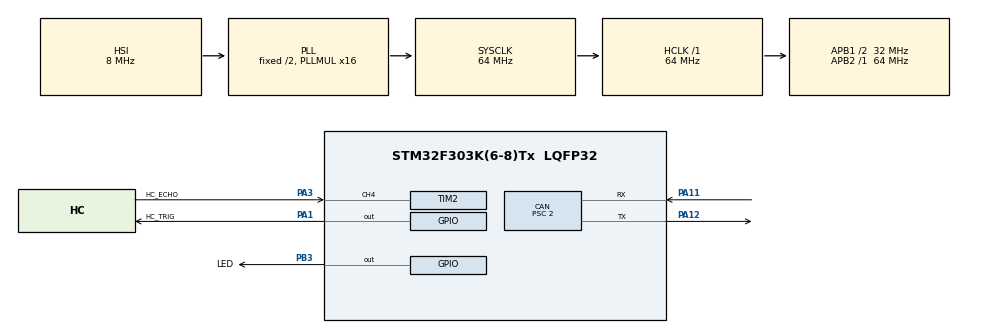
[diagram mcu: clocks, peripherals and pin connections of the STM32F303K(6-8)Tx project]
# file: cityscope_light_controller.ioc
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CAN.ABOM=ENABLE
CAN.AWUM=ENABLE
CAN.BS1=CAN_BS1_13TQ
CAN.BS2=CAN_BS2_2TQ
CAN.CalculateBaudRate=1000000
CAN.CalculateTimeBit=1000
CAN.CalculateTimeQuantum=62.5
CAN.NART=ENABLE
CAN.Prescaler=2
CAN.RFLM=ENABLE
CAN.SJW=CAN_SJW_2TQ
CAN.TTCM=ENABLE
CAN.TXFP=ENABLE
FREERTOS.Tasks01=ReadDistance,40,128,StartReadDistance,Default,NULL,Dynamic,NULL,NULL;UITask,24,128,StartUITask,Default,NULL,Dynamic,NULL,NULL;canopenTask,48,128,canopen_task,Default,NULL,Dynamic,NULL,NULL
Mcu.Family=STM32F3
Mcu.Name=STM32F303K(6-8)Tx
Mcu.Package=LQFP32
NVIC.CAN_RX0_IRQn=true\:5\:0\:false\:false\:true\:true\:true\:true\:true
NVIC.CAN_RX1_IRQn=true\:5\:0\:false\:false\:true\:true\:true\:true\:true
NVIC.CAN_TX_IRQn=true\:5\:0\:false\:false\:true\:true\:true\:true\:true
NVIC.PriorityGroup=NVIC_PRIORITYGROUP_4
NVIC.TIM1_TRG_COM_TIM17_IRQn=true\:5\:0\:false\:false\:true\:true\:true\:true\:true
NVIC.TIM1_UP_TIM16_IRQn=true\:5\:0\:false\:false\:true\:false\:false\:true\:true
NVIC.TIM2_IRQn=true\:5\:0\:false\:false\:true\:true\:true\:true\:true
NVIC.TimeBase=TIM1_UP_TIM16_IRQn
NVIC.TimeBaseIP=TIM1
PA0.GPIO_Label=N_DI
PA0.GPIO_ModeDefaultPP=GPIO_MODE_AF_PP
PA0.GPIO_PuPd=GPIO_NOPULL
PA0.GPIO_Speed=GPIO_SPEED_FREQ_LOW
PA0.Signal=S_TIM2_CH1_ETR
PA1.GPIO_Label=HC_TRIG
PA1.Signal=GPIO_Output
PA11.GPIO_PuPd=GPIO_PULLUP
PA11.Mode=CAN_Activate
PA11.Signal=CAN_RX
PA12.Mode=CAN_Activate
PA12.Signal=CAN_TX
PA13.Mode=Serial_Wire
PA13.Signal=SYS_JTMS-SWDIO
PA14.Mode=Serial_Wire
PA14.Signal=SYS_JTCK-SWCLK
PA3.GPIO_Label=HC_ECHO
PA3.Signal=S_TIM2_CH4
PB3.GPIO_Label=LED
PB3.Signal=GPIO_Output
ProjectManager.HeapSize=0x200
ProjectManager.StackSize=0x400
ProjectManager.TargetToolchain=Makefile
RCC.AHBFreq_Value=64000000
RCC.APB1CLKDivider=RCC_HCLK_DIV2
RCC.APB1Freq_Value=32000000
RCC.APB1TimFreq_Value=64000000
RCC.APB2Freq_Value=64000000
RCC.APB2TimFreq_Value=64000000
RCC.CortexFreq_Value=64000000
RCC.HCLKFreq_Value=64000000
RCC.HSE_VALUE=8000000
RCC.HSI_VALUE=8000000
RCC.PLLMUL=RCC_PLL_MUL16
RCC.SYSCLKFreq_VALUE=64000000
RCC.SYSCLKSourceVirtual=RCC_SYSCLKSOURCE_PLLCLK
SH.S_TIM2_CH1_ETR.0=TIM2_CH1
SH.S_TIM2_CH4.0=TIM2_CH4,Input_Capture4_from_TI4
TIM17.Period=1000
TIM17.Prescaler=63
TIM2.Channel-Input_Capture4_from_TI4=TIM_CHANNEL_4
TIM2.ICPolarity_CH4=TIM_INPUTCHANNELPOLARITY_BOTHEDGE
TIM2.Period=0xffffffff-1
TIM2.Prescaler=64-1
TIM3.Prescaler=64-1
VP_FREERTOS_VS_CMSIS_V2.Mode=CMSIS_V2
VP_SYS_VS_tim1.Mode=TIM1
VP_TIM17_VS_ClockSourceINT.Mode=Enable_Timer
VP_TIM2_VS_ClockSourceINT.Mode=Internal
VP_TIM3_VS_ClockSourceINT.Mode=Internal
board=custom

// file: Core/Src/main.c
/* USER CODE BEGIN Header */
/**
  ******************************************************************************
  * @file           : main.c
  * @brief          : Main program body
  ******************************************************************************
  * @attention
  *
  * Copyright (c) 2023 STMicroelectronics.
  * All rights reserved.
  *
  * This software is licensed under terms that can be found in the LICENSE file
  * in the root directory of this software component.
  * If no LICENSE file comes with this software, it is provided AS-IS.
  *
  ******************************************************************************
  */
/* USER CODE END Header */
#include "main.h"
#include "cmsis_os.h"
#include "can.h"
#include "tim.h"
#include "gpio.h"

/* USER CODE BEGIN Includes */
#include"CO_app_STM32.h"
/* USER CODE END Includes */

void SystemClock_Config(void);
void MX_FREERTOS_Init(void);
/* USER CODE BEGIN PFP */
uint32_t get_NodeID(void);
uint32_t NodeID[1];
/* USER CODE END PFP */

int main(void)
{

  /* MCU Configuration--------------------------------------------------------*/

  /* Reset of all peripherals, Initializes the Flash interface and the Systick. */
  HAL_Init();

  /* Configure the system clock */
  SystemClock_Config();

  /* Initialize all configured peripherals */
  MX_GPIO_Init();
  MX_CAN_Init();
  MX_TIM2_Init();
  MX_TIM3_Init();
  MX_TIM17_Init();
  /* USER CODE BEGIN 2 */
  HAL_TIM_Base_Start(&htim2);
  Flash_Read_Data(0x0800FFFC, NodeID, 1);
  HAL_FLASH_Lock();
  /* USER CODE END 2 */

  /* Init scheduler */
  osKernelInitialize();  /* Call init function for freertos objects (in freertos.c) */
  MX_FREERTOS_Init();

  /* Start scheduler */
  osKernelStart();

  /* We should never get here as control is now taken by the scheduler */
  /* Infinite loop */
  while (1)
  {

  }
}

void SystemClock_Config(void)
{
  RCC_OscInitTypeDef RCC_OscInitStruct = {0};
  RCC_ClkInitTypeDef RCC_ClkInitStruct = {0};

  /** Initializes the RCC Oscillators according to the specified parameters
  * in the RCC_OscInitTypeDef structure.
  */
  RCC_OscInitStruct.OscillatorType = RCC_OSCILLATORTYPE_HSI;
  RCC_OscInitStruct.HSIState = RCC_HSI_ON;
  RCC_OscInitStruct.HSICalibrationValue = RCC_HSICALIBRATION_DEFAULT;
  RCC_OscInitStruct.PLL.PLLState = RCC_PLL_ON;
  RCC_OscInitStruct.PLL.PLLSource = RCC_PLLSOURCE_HSI;
  RCC_OscInitStruct.PLL.PLLMUL = RCC_PLL_MUL16;
  if (HAL_RCC_OscConfig(&RCC_OscInitStruct) != HAL_OK)
  {
    Error_Handler();
  }

  /** Initializes the CPU, AHB and APB buses clocks
  */
  RCC_ClkInitStruct.ClockType = RCC_CLOCKTYPE_HCLK|RCC_CLOCKTYPE_SYSCLK
                              |RCC_CLOCKTYPE_PCLK1|RCC_CLOCKTYPE_PCLK2;
  RCC_ClkInitStruct.SYSCLKSource = RCC_SYSCLKSOURCE_PLLCLK;
  RCC_ClkInitStruct.AHBCLKDivider = RCC_SYSCLK_DIV1;
  RCC_ClkInitStruct.APB1CLKDivider = RCC_HCLK_DIV2;
  RCC_ClkInitStruct.APB2CLKDivider = RCC_HCLK_DIV1;

  if (HAL_RCC_ClockConfig(&RCC_ClkInitStruct, FLASH_LATENCY_2) != HAL_OK)
  {
    Error_Handler();
  }
}

/* USER CODE BEGIN 4 */
uint32_t get_NodeID(void)
{
  return NodeID[0];
}
void delay_us(uint16_t us)
{
  __HAL_TIM_SET_COUNTER(&htim2, 0); // set the counter value a 0
  while (__HAL_TIM_GET_COUNTER(&htim2) < us)
    ; // wait for the counter to reach the us input in the parameter
}

/* USER CODE END 4 */

void HAL_TIM_PeriodElapsedCallback(TIM_HandleTypeDef *htim)
{
  if (htim->Instance == TIM1) {
    HAL_IncTick();
  }
  /* USER CODE BEGIN Callback 1 */
  if (htim == canopenNodeSTM32->timerHandle)
  {
    canopen_app_interrupt();
  }
  /* USER CODE END Callback 1 */
}

void Error_Handler(void)
{
  __disable_irq();
  while (1)
  {
  }
}

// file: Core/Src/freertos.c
/* USER CODE BEGIN Header */
/**
 ******************************************************************************
 * File Name          : freertos.c
 * Description        : Code for freertos applications
 ******************************************************************************
 * @attention
 *
 * Copyright (c) 2023 STMicroelectronics.
 * All rights reserved.
 *
 * This software is licensed under terms that can be found in the LICENSE file
 * in the root directory of this software component.
 * If no LICENSE file comes with this software, it is provided AS-IS.
 *
 ******************************************************************************
 */
/* USER CODE END Header */

#include "FreeRTOS.h"
#include "task.h"
#include "main.h"
#include "cmsis_os.h"

/* USER CODE BEGIN Includes */
#include "hc_sr04.h"
#include "ws2812.h"
#include "tim.h"
#include "can.h"
#include "CO_app_STM32.h"
#include "OD.h"
/* USER CODE END Includes */

/* Definitions for ReadDistance */

/* Definitions for UITask */

/* Definitions for canopenTask */
osThreadId_t canopenTaskHandle;
const osThreadAttr_t canopenTask_attributes = {
    .name = "canopenTask",
    .stack_size = 128 * 4,
    .priority = (osPriority_t)osPriorityRealtime,
};

void StartReadDistance(void *argument);
void StartUITask(void *argument);
void canopen_task(void *argument);

void MX_FREERTOS_Init(void); /* (MISRA C 2004 rule 8.1) */

void MX_FREERTOS_Init(void)
{

  /* Create the thread(s) */
  /* creation of ReadDistance */

  /* creation of UITask */

  /* creation of canopenTask */
  canopenTaskHandle = osThreadNew(canopen_task, NULL, &canopenTask_attributes);

}

void canopen_task(void *argument)
{
  /* USER CODE BEGIN canopen_task */
  CANopenNodeSTM32 canOpenNodeSTM32;
  canOpenNodeSTM32.CANHandle = &hcan;
  canOpenNodeSTM32.HWInitFunction = MX_CAN_Init;
  canOpenNodeSTM32.timerHandle = &htim17;
  canOpenNodeSTM32.desiredNodeID = (uint8_t)get_NodeID();
  canOpenNodeSTM32.baudrate = 125;
  canopen_app_init(&canOpenNodeSTM32);
  /* Infinite loop */
  for (;;)
  {
    canopen_app_process();
    if (OD_PERSIST_COMM.x6001_light_control_data == 0) // breath
    {
      sendPixel(255, 255, 255);
      bool flag = 0;
      for (int j = 10; j < 255; (flag == 0 ? j++ : j--))
      {
        for (int i = 0; i < WS2821_MAX_LED; i++)
        {
          sendPixel(j, j, j);
        }
        ws2812_reset();
        osDelay(20);
        if (j == 254)
        {
          flag = 1;
        }
        else if (j == 10)
        {
          flag = 0;
        }
        canopen_app_process();
        if (OD_PERSIST_COMM.x6001_light_control_data != 0)
        {
          clear();
          osDelay(50);
          break;
        }
      }
    }

    else if ((OD_PERSIST_COMM.x6001_light_control_data >= 10 && OD_PERSIST_COMM.x6001_light_control_data < 13) || (OD_PERSIST_COMM.x6001_light_control_data > 36 && OD_PERSIST_COMM.x6001_light_control_data <=  43)) // check area
    {
      switch (OD_PERSIST_COMM.x6001_light_control_data)
      {
      case 37:
        for (int i = 0; i < 100; i++)
        {
          sendPixel(255, 255, 255);
        }
        ws2812_reset();
        break;
      case 38:
        for (int i = 0; i < 45; i++)
        {
          sendPixel(0, 0, 0);
        }
        for (int i = 0; i < 105; i++)
        {
          sendPixel(255, 255, 255);
        }
        ws2812_reset();
        break;
      case 39:
        for (int i = 0; i < 90; i++)
        {
          sendPixel(0, 0, 0);
        }
        for (int i = 0; i < 100; i++)
        {
          sendPixel(255,255,255);
        }
        ws2812_reset();
        break;
      case 40:
        for (int i = 0; i < 140; i++)
        {
          sendPixel(0, 0, 0);
        }
        for (int i = 0; i < 100; i++)
        {
          sendPixel(255, 255, 255);
        }
        ws2812_reset();
        break;
      case 41:
        for (int i = 0; i < 185; i++)
        {
          sendPixel(0, 0, 0);
        }
        for (int i = 0; i < 100; i++)
        {
          sendPixel(255, 255, 255);
        }
        ws2812_reset();
        break;
      case 42:
        for (int i = 0; i < 230; i++)
        {
          sendPixel(0, 0, 0);
        }
        for (int i = 0; i < 100; i++)
        {
          sendPixel(255, 255, 255);
        }
        ws2812_reset();
        break;
      case 43:
        for (int i = 0; i < 285; i++)
        {
          sendPixel(0, 0, 0);
        }
        for (int i = 0; i < 100; i++)
        {
          sendPixel(255, 255, 255);
        }
        ws2812_reset();
        break;
      case 10:
        for (int i = 0; i < 325; i++)
        {
          sendPixel(0, 0, 0);
        }
        for (int i = 0; i < 115; i++)
        {
          sendPixel(255, 255, 255);
        }
        ws2812_reset();
        break;
      case 11:
        for (int i = 0; i < 375; i++)
        {
          sendPixel(0, 0, 0);
        }
        for (int i = 0; i < 105; i++)
        {
          sendPixel(255, 255, 255);
        }
        ws2812_reset();
        break;
      case 12:
        for (int i = 0; i < 415; i++)
        {
          sendPixel(0, 0, 0);
        }
        for (int i = 0; i < 150; i++)
        {
          sendPixel(255, 255, 255);
        }
        ws2812_reset();
        break;
      }

      for (;;)
      {
        canopen_app_process();
        if (OD_PERSIST_COMM.x6001_light_control_data == 0)
        {
          break;
        }
        osDelay(50);
      }
    }
    vTaskDelay(pdMS_TO_TICKS(1));
  }
}
/* USER CODE END canopen_task */
